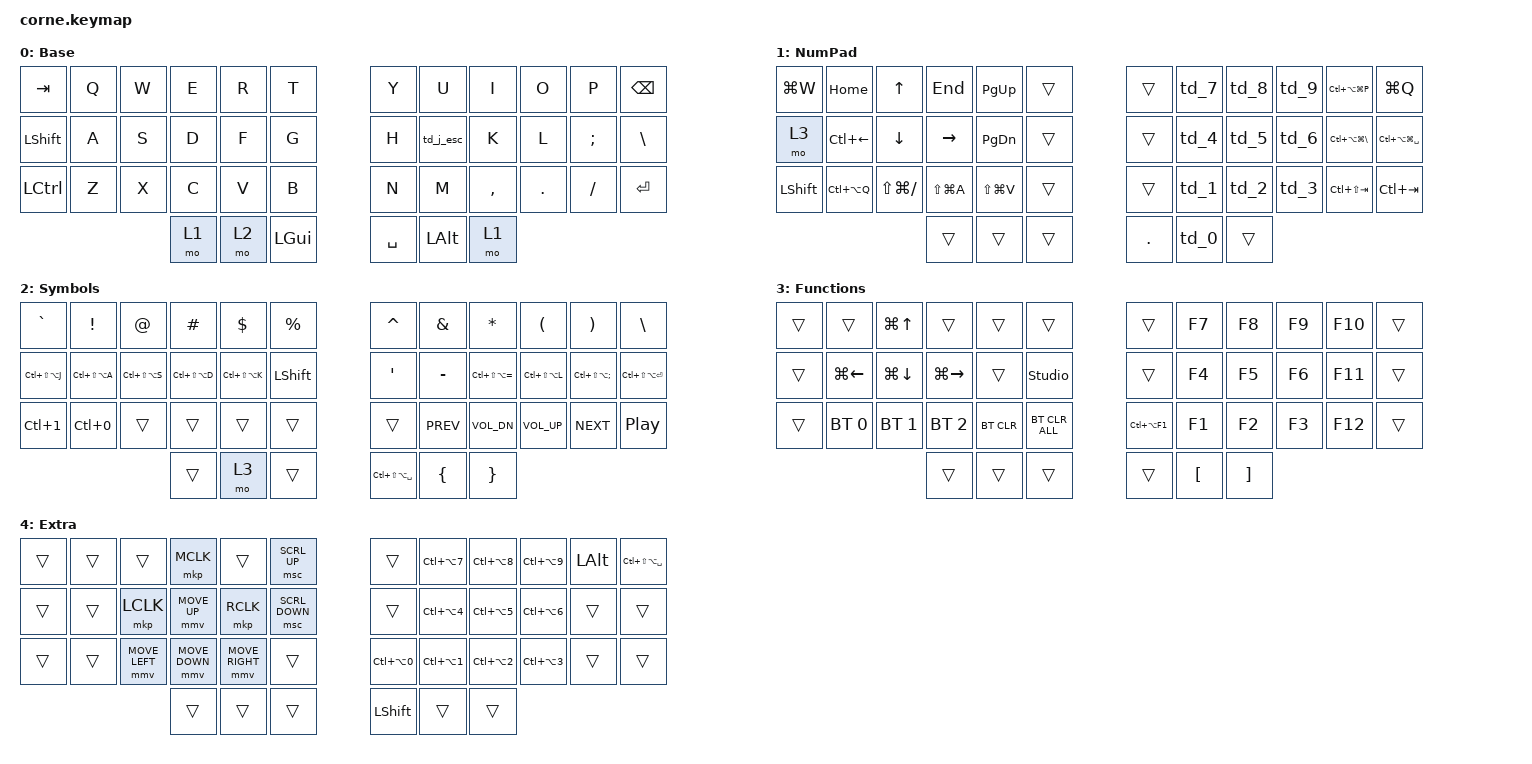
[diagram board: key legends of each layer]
#include <behaviors.dtsi>
#include <dt-bindings/zmk/bt.h>
#include <dt-bindings/zmk/keys.h>
#include <dt-bindings/zmk/pointing.h>

#define DEF 0
#define NAV 1
#define SYM 2
#define ADJ 3
#define EXTRA 4

/ {
    behaviors {
        hm: homerow_mods {
            compatible = "zmk,behavior-hold-tap";
            #binding-cells = <2>;
            tapping-term-ms = <200>;
            flavor = "tap-preferred";
            bindings = <&kp>, <&kp>;

            quick-tap-ms = <180>;
            require-prior-idle-ms = <120>; /* tune to taste */
        };

        para: para {
            compatible = "zmk,behavior-tap-dance";
            #binding-cells = <0>;
            bindings = <&kp LEFT_PARENTHESIS>, <&kp RIGHT_PARENTHESIS>;
        };

        caps: caps {
            compatible = "zmk,behavior-caps-word";
            #binding-cells = <0>;
            continue-list = <MINUS BACKSPACE>;
        };

        paraless: paraless {
            compatible = "zmk,behavior-mod-morph";
            bindings = <&kp LEFT_PARENTHESIS>, <&kp LESS_THAN>;

            #binding-cells = <0>;
            mods = <(MOD_LSFT)>;
        };

        paragreat: paragreat {
            compatible = "zmk,behavior-mod-morph";
            bindings = <&kp RIGHT_PARENTHESIS>, <&kp GREATER_THAN>;

            #binding-cells = <0>;
            mods = <(MOD_LSFT)>;
        };

        td_ctrl_shift: td_ctrl_shift {
            compatible = "zmk,behavior-tap-dance";
            #binding-cells = <0>;
            bindings = <&kp LSHIFT>, <&kp LCTRL>;
        };

        td_j_esc: td_j_esc {
            compatible = "zmk,behavior-tap-dance";
            #binding-cells = <0>;
            bindings = <&kp J>, <&kp ESC>;
        };

        nh: number_hold {
            compatible = "zmk,behavior-hold-tap";
            #binding-cells = <2>;
            tapping-term-ms = <200>;
            flavor = "tap-preferred";
            bindings = <&kp>, <&kp>;
            quick-tap-ms = <180>;
        };

        td_0: td_0 {
            compatible = "zmk,behavior-tap-dance";
            #binding-cells = <0>;
            bindings = <&nh LA(LC(LS(N0))) N0>, <&nh LA(LC(LG(N0))) N0>;
        };

        td_1: td_1 {
            compatible = "zmk,behavior-tap-dance";
            #binding-cells = <0>;
            bindings = <&nh LA(LC(LS(N1))) N1>, <&nh LA(LC(LG(N1))) N1>;
        };

        td_2: td_2 {
            compatible = "zmk,behavior-tap-dance";
            #binding-cells = <0>;
            bindings = <&nh LA(LC(LS(N2))) N2>, <&nh LA(LC(LG(N2))) N2>;
        };

        td_3: td_3 {
            compatible = "zmk,behavior-tap-dance";
            #binding-cells = <0>;
            bindings = <&nh LA(LC(LS(N3))) N3>, <&nh LA(LC(LG(N3))) N3>;
        };

        td_4: td_4 {
            compatible = "zmk,behavior-tap-dance";
            #binding-cells = <0>;
            bindings = <&nh LA(LC(LS(N4))) N4>, <&nh LA(LC(LG(N4))) N4>;
        };

        td_5: td_5 {
            compatible = "zmk,behavior-tap-dance";
            #binding-cells = <0>;
            bindings = <&nh LA(LC(LS(N5))) N5>, <&nh LA(LC(LG(N5))) N5>;
        };

        td_6: td_6 {
            compatible = "zmk,behavior-tap-dance";
            #binding-cells = <0>;
            bindings = <&nh LA(LC(LS(N6))) N6>, <&nh LA(LC(LG(N6))) N6>;
        };

        td_7: td_7 {
            compatible = "zmk,behavior-tap-dance";
            #binding-cells = <0>;
            bindings = <&nh LA(LC(LS(N7))) N7>, <&nh LA(LC(LG(N7))) N7>;
        };

        td_8: td_8 {
            compatible = "zmk,behavior-tap-dance";
            #binding-cells = <0>;
            bindings = <&nh LA(LC(LS(N8))) N8>, <&nh LA(LC(LG(N8))) N8>;
        };

        td_9: td_9 {
            compatible = "zmk,behavior-tap-dance";
            #binding-cells = <0>;
            bindings = <&nh LA(LC(LS(N9))) N9>, <&nh LA(LC(LG(N9))) N9>;
        };
    };

    macros {
        browsertab: browsertab {
            compatible = "zmk,behavior-macro";
            #binding-cells = <0>;
            bindings =
                <&macro_press>,
                <&kp LCTRL>,
                <&macro_tap>,
                <&kp TAB>,
                <&macro_release>,
                <&kp LCTRL>;
        };

    };

    combos {
        compatible = "zmk,combos";

        escape {
            bindings = <&kp ESCAPE>;
            key-positions = <13 29>;
        };

        delete {
            bindings = <&kp DELETE>;
            key-positions = <15 21>;
        };

        perc {
            bindings = <&kp PERCENT>;
            key-positions = <5 17>;
            layers = <0>;
        };

        equal {
            bindings = <&kp EQUAL>;
            key-positions = <28 16>;
            layers = <0>;
        };

        dollar {
            bindings = <&kp DOLLAR>;
            key-positions = <4 16>;
            layers = <0>;
        };

        pound {
            bindings = <&kp POUND>;
            key-positions = <3 15>;
            layers = <0>;
        };

        at {
            bindings = <&kp AT>;
            key-positions = <2 14>;
            layers = <0>;
        };

        backslash {
            bindings = <&kp BACKSLASH>;
            key-positions = <26 14>;
            layers = <0>;
        };

        star {
            bindings = <&kp STAR>;
            key-positions = <8 20>;
            layers = <0>;
        };

        slash {
            bindings = <&kp SLASH>;
            key-positions = <32 20>;
            layers = <0>;
        };

        plus {
            bindings = <&kp PLUS>;
            key-positions = <7 19>;
            layers = <0>;
        };

        minus {
            bindings = <&kp KP_MINUS>;
            key-positions = <31 19>;
            layers = <0>;
        };

        underscore {
            bindings = <&kp UNDER>;
            key-positions = <30 18>;
            layers = <0>;
        };

        leftbrack {
            bindings = <&kp LEFT_BRACKET>;
            key-positions = <31 32>;
            layers = <0>;
        };

        rightbrack {
            bindings = <&kp RIGHT_BRACKET>;
            key-positions = <33 32>;
            layers = <0>;
        };

        para-less {
            bindings = <&paraless>;
            key-positions = <20 19>;
            layers = <0>;
        };

        para-great {
            bindings = <&paragreat>;
            key-positions = <20 21>;
            layers = <0>;
        };
    };

    //

    keymap {
        compatible = "zmk,keymap";

        DEF {
            display-name = "Base";
            bindings = <
&kp TAB    &kp Q  &kp W  &kp E  &kp R  &kp T        &kp Y  &kp U      &kp I      &kp O    &kp P     &kp BACKSPACE
&kp LSHFT  &kp A  &kp S  &kp D  &kp F  &kp G        &kp H  &td_j_esc  &kp K      &kp L    &kp SEMI  &kp BSLH
&kp LCTRL  &kp Z  &kp X  &kp C  &kp V  &kp B        &kp N  &kp M      &kp COMMA  &kp DOT  &kp FSLH  &kp RET
                               &mo 1  &mo 2  &kp LGUI     &kp SPACE  &kp LALT  &mo 1
            >;
        };

        NAV {
            display-name = "NumPad";
            bindings = <
&kp LG(W)   &kp HOME      &kp UP    &kp END       &kp PG_UP  &trans          &trans  &td_7  &td_8  &td_9  &kp LC(LA(LG(P)))     &kp LG(Q)
&mo 3       &kp LC(LEFT)  &kp DOWN  &kp RIGHT     &kp PG_DN  &trans          &trans  &td_4  &td_5  &td_6  &kp LC(LA(LG(BSLH)))  &kp LC(LA(LG(SPACE)))
&kp LSHFT   &kp LC(LA(Q))  &kp LS(LG(FSLH))  &kp LS(LG(A))  &kp LS(LG(V))  &trans    &trans  &td_1  &td_2  &td_3  &kp LC(LS(TAB))  &kp LC(TAB)
                           &trans    &trans        &trans      &kp DOT  &td_0  &trans
            >;
        };

        SYM {
            display-name = "Symbols";
            bindings = <
&kp GRAVE          &kp EXCL          &kp AT            &kp HASH          &kp DLLR          &kp PRCNT          &kp CARET  &kp AMPS   &kp ASTRK          &kp LPAR           &kp RPAR           &kp BSLH
&kp LC(LS(LA(J)))  &kp LC(LS(LA(A)))  &kp LC(LS(LA(S)))  &kp LC(LS(LA(D)))  &kp LC(LS(LA(K)))  &kp LSHFT         &kp SQT    &kp MINUS  &kp LC(LS(LA(EQUAL)))  &kp LC(LS(LA(L)))  &kp LC(LS(LA(SEMI)))  &kp LC(LS(LA(RET)))
&kp LC(N1)         &kp LC(N0)        &trans            &trans            &trans            &trans             &trans     &kp C_PREV  &kp C_VOL_DN       &kp C_VOL_UP       &kp C_NEXT         &kp C_PP
                                      &trans            &mo 3             &trans            &kp LC(LS(LA(SPACE)))  &kp LBRC  &kp RBRC
            >;
        };

        ADJ {
            display-name = "Functions";
            bindings = <
&trans  &trans         &kp LG(UP)    &trans         &trans      &trans              &trans          &kp F7  &kp F8  &kp F9  &kp F10  &trans
&trans  &kp LG(LEFT)  &kp LG(DOWN)  &kp LG(RIGHT)  &trans      &studio_unlock      &trans          &kp F4  &kp F5  &kp F6  &kp F11  &trans
&trans  &bt BT_SEL 0  &bt BT_SEL 1  &bt BT_SEL 2   &bt BT_CLR  &bt BT_CLR_ALL      &kp LC(LA(F1))  &kp F1  &kp F2  &kp F3  &kp F12  &trans
                                     &trans         &trans      &trans              &trans          &kp LBKT  &kp RBKT
            >;
        };

        EXTRA {
            display-name = "Extra";
            bindings = <
&trans  &trans  &trans          &mkp MCLK       &trans           &msc SCRL_UP      &trans          &kp LC(LA(N7))  &kp LC(LA(N8))  &kp LC(LA(N9))  &kp LALT   &kp LC(LS(LA(SPACE)))
&trans  &trans  &mkp LCLK       &mmv MOVE_UP    &mkp RCLK        &msc SCRL_DOWN    &trans          &kp LC(LA(N4))  &kp LC(LA(N5))  &kp LC(LA(N6))  &trans     &trans
&trans  &trans  &mmv MOVE_LEFT  &mmv MOVE_DOWN  &mmv MOVE_RIGHT  &trans            &kp LC(LA(N0))  &kp LC(LA(N1))  &kp LC(LA(N2))  &kp LC(LA(N3))  &trans     &trans
                                &trans          &trans           &trans            &kp LSHFT       &trans          &trans
            >;
        };
    };

};
    
